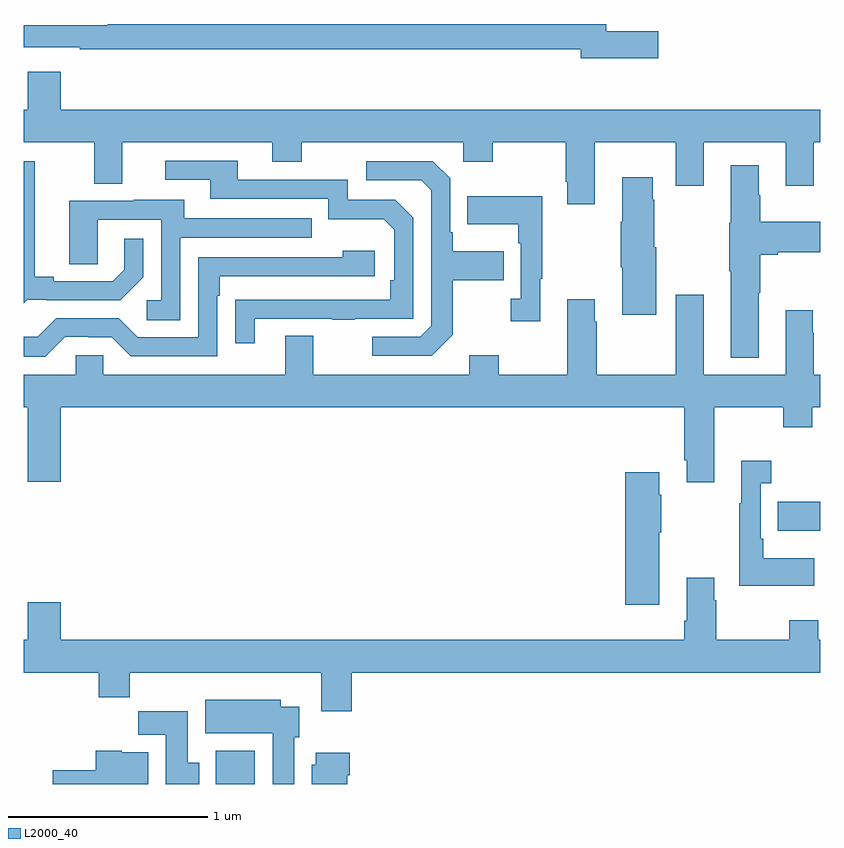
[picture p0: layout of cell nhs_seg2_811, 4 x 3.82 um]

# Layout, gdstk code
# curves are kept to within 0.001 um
import gdstk
lib = gdstk.Library(unit=1e-6, precision=1e-09)
def R(c, l, rs):  # rectangles x0, y0, x1, y1
    for r in rs: c.add(gdstk.rectangle(r[:2], r[2:], *l))
def P(c, l, *ps):  # polygons
    for p in ps: c.add(gdstk.Polygon(p, *l))
L2000_40 = (2000, 40)

nhs_seg2_811 = lib.new_cell('nhs_seg2_811')
R(nhs_seg2_811, L2000_40, [(153.965,589.8,154.161,589.966), (156.787,591.071,157,591.219)])
P(nhs_seg2_811, L2000_40, [(156.187,593.582),(155.926,593.582),(155.926,593.618),(153.422,593.618),(153.422,593.611),(153,593.611),(153,593.502),(153.28,593.502),(153.28,593.49),(155.798,593.49),(155.798,593.447),(156.187,593.447)],
  [(155.869,593.024),(156.275,593.024),(156.275,592.806),(156.415,592.806),(156.415,593.024),(156.827,593.024),(156.827,592.806),(156.967,592.806),(156.967,593.024),(157,593.024),(157,593.188),(153.184,593.188),(153.184,593.377),(153.02,593.377),(153.02,593.188),(153,593.188),(153,593.024),(153.353,593.024),(153.353,592.816),(153.493,592.816),(153.493,593.024),(154.247,593.024),(154.247,592.925),(154.395,592.925),(154.395,593.024),(155.208,593.024),(155.208,592.925),(155.355,592.925),(155.355,593.024),(155.722,593.024),(155.722,592.825),(155.729,592.825),(155.729,592.713),(155.869,592.713)],
  [(154.159,592.137),(154.549,592.137),(154.549,592.132),(154.661,592.132),(154.661,592.137),(154.956,592.137),(154.956,592.644),(154.866,592.734),(154.626,592.734),(154.626,592.836),(154.075,592.836),(154.075,592.932),(153.711,592.932),(153.711,592.836),(153.935,592.836),(153.935,592.74),(154.53,592.74),(154.53,592.637),(154.807,592.637),(154.86,592.584),(154.86,592.33),(154.84,592.33),(154.84,592.233),(154.063,592.232),(154.063,592.014),(154.159,592.014)],
  [(153.018,592.233),(153.112,592.233),(153.112,592.23),(153.484,592.23),(153.6,592.346),(153.6,592.54),(153.503,592.54),(153.503,592.383),(153.446,592.326),(153.151,592.326),(153.151,592.349),(153.055,592.349),(153.055,592.929),(153,592.929),(153,592.215)],
  [(155.155,592.057),(155.155,592.33),(155.411,592.33),(155.411,592.477),(155.155,592.477),(155.155,592.573),(155.142,592.573),(155.142,592.842),(155.055,592.929),(154.719,592.929),(154.719,592.833),(154.995,592.833),(155.046,592.782),(155.046,592.101),(154.992,592.047),(154.749,592.047),(154.749,591.951),(155.049,591.951)],
  [(156.691,592.267),(156.699,592.267),(156.699,592.46),(156.787,592.46),(156.787,592.472),(157,592.472),(157,592.624),(156.699,592.624),(156.699,592.758),(156.691,592.758),(156.691,592.909),(156.551,592.909),(156.551,592.62),(156.544,592.62),(156.544,592.376),(156.551,592.376),(156.551,591.941),(156.691,591.941)],
  [(156.178,592.497),(156.168,592.497),(156.168,592.736),(156.16,592.736),(156.16,592.849),(156.005,592.849),(156.005,592.625),(155.998,592.625),(155.998,592.397),(156.005,592.397),(156.005,592.157),(156.178,592.157)],
  [(155.593,592.337),(155.605,592.337),(155.605,592.753),(155.227,592.753),(155.227,592.613),(155.484,592.613),(155.484,592.517),(155.496,592.517),(155.496,592.238),(155.445,592.238),(155.445,592.125),(155.593,592.125)],
  [(153.786,592.545),(154.445,592.545),(154.445,592.641),(153.805,592.641),(153.805,592.735),(153.551,592.735),(153.551,592.731),(153.227,592.731),(153.227,592.411),(153.372,592.411),(153.372,592.635),(153.69,592.635),(153.69,592.23),(153.618,592.23),(153.618,592.129),(153.786,592.129)],
  [(153.207,592.047),(153.323,592.047),(153.323,592.044),(153.441,592.044),(153.537,591.948),(153.972,591.948),(153.972,592.253),(153.985,592.253),(153.985,592.35),(154.762,592.35),(154.762,592.48),(154.601,592.48),(154.601,592.446),(153.876,592.446),(153.876,592.044),(153.573,592.044),(153.477,592.14),(153.162,592.14),(153.069,592.047),(153,592.047),(153,591.947),(153.107,591.947)],
  [(156.469,591.692),(156.814,591.692),(156.814,591.593),(156.961,591.593),(156.961,591.692),(157,591.692),(157,591.856),(156.967,591.856),(156.967,592.067),(156.964,592.067),(156.964,592.18),(156.827,592.18),(156.827,591.856),(156.415,591.856),(156.415,592.258),(156.275,592.258),(156.275,591.856),(155.877,591.856),(155.877,592.121),(155.869,592.121),(155.869,592.234),(155.729,592.234),(155.729,591.856),(155.385,591.856),(155.385,591.955),(155.237,591.955),(155.237,591.856),(154.453,591.856),(154.453,592.051),(154.313,592.051),(154.313,591.856),(153.399,591.856),(153.399,591.954),(153.261,591.954),(153.261,591.856),(153,591.856),(153,591.692),(153.02,591.692),(153.02,591.318),(153.184,591.318),(153.184,591.692),(156.317,591.692),(156.317,591.427),(156.329,591.427),(156.329,591.315),(156.469,591.315)],
  [(156.971,590.935),(156.715,590.935),(156.715,591.031),(156.702,591.031),(156.702,591.311),(156.754,591.311),(156.754,591.424),(156.605,591.424),(156.605,591.211),(156.594,591.211),(156.594,590.795),(156.971,590.795)],
  [(156.193,591.065),(156.201,591.065),(156.201,591.254),(156.193,591.254),(156.193,591.367),(156.02,591.367),(156.02,590.7),(156.193,590.7)],
  [(154.646,590.36),(157,590.36),(157,590.524),(156.99,590.524),(156.99,590.623),(156.844,590.623),(156.844,590.524),(156.477,590.524),(156.477,590.723),(156.469,590.723),(156.469,590.836),(156.329,590.836),(156.329,590.62),(156.317,590.62),(156.317,590.524),(153.184,590.524),(153.184,590.713),(153.02,590.713),(153.02,590.524),(153,590.524),(153,590.36),(153.377,590.36),(153.377,590.236),(153.533,590.236),(153.533,590.36),(154.493,590.36),(154.493,590.166),(154.646,590.166)],
  [(154.357,590.034),(154.384,590.034),(154.384,590.188),(154.291,590.188),(154.291,590.224),(153.911,590.224),(153.911,590.054),(154.25,590.054),(154.25,589.8),(154.357,589.8)],
  [(153.88,589.908),(153.823,589.908),(153.823,590.166),(153.574,590.166),(153.574,590.048),(153.713,590.048),(153.713,589.8),(153.88,589.8)],
  [(153.625,589.96),(153.492,589.96),(153.492,589.966),(153.362,589.966),(153.362,589.868),(153.144,589.868),(153.144,589.8),(153.625,589.8)],
  [(154.624,589.844),(154.637,589.844),(154.637,589.957),(154.466,589.957),(154.466,589.896),(154.445,589.896),(154.445,589.8),(154.624,589.8)])

lib.write_gds('nhs_seg2_811.gds')
